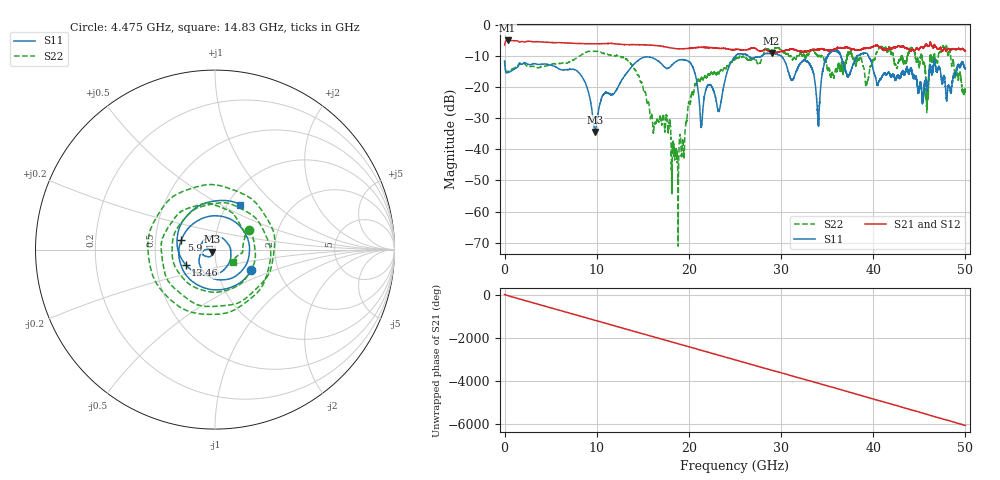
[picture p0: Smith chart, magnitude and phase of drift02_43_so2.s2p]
!Created with skrf (http://scikit-rf.org).
# Hz S RI R 50.0
!freq ReS11 ImS11 ReS21 ImS21 ReS12 ImS12 ReS22 ImS22
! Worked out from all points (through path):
!   10001 points, 300 kHz to 50 GHz, reference 50 ohm
!   highest |S21| = -5.04 dB at 325.3 MHz (marker M1); lowest = -9.0 dB at 28.98 GHz (marker M2)
!   group delay of S21, straight-line fit = 336 ps
!   lowest |S11| = -34.4 dB at 9.845 GHz (marker M3), VSWR 1.04, Z = 48.5 - j1.09 ohm
!   |S11| at or under -10 dB: start of sweep to 25.08 GHz; 29.98 GHz to 35.06 GHz (5.075 GHz wide, 15.6 % of centre); 39.48 GHz to end of sweep (the widest 3 of 11)
!   |S22| runs from -71.1 to -6.6 dB; largest |S21 - S12| = 0.023
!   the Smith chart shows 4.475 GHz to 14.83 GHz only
!   S11 on the Smith chart (normalised r, x): 4.475 GHz: 1.46, -0.35; 5.9 GHz: 0.68, +0.07; 13.46 GHz: 0.71, -0.13; 14.83 GHz: 1.15, +0.63
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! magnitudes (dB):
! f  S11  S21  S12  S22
! 300 kHz  -11.6  -6.5  -6.4  -11.5
! 325.3 MHz  -15.4  -5.0  -5.0  -15.0
! 4.475 GHz  -12.6  -5.6  -5.6  -13.2
! 5.9 GHz  -14.2  -5.7  -5.7  -12.4
! 8.335 GHz  -16.4  -6.0  -6.0  -9.6
! 9.845 GHz  -34.4  -6.1  -6.1  -8.5
! 13.46 GHz  -14.7  -6.4  -6.4  -11.6
! 14.83 GHz  -10.8  -6.4  -6.4  -18.5
! 16.67 GHz  -11.6  -6.7  -6.7  -30.9
! 18.66 GHz  -11.7  -7.7  -7.7  -41.0
! 20.37 GHz  -13.3  -7.5  -7.5  -21.9
! 21.37 GHz  -32.2  -7.2  -7.2  -16.9
! 23.31 GHz  -27.4  -7.5  -7.6  -15.6
! 25 GHz  -10.3  -8.0  -8.0  -11.2
! 28.98 GHz  -9.2  -9.0  -9.0  -8.3
! 33.34 GHz  -13.9  -8.1  -8.1  -8.1
! 34.02 GHz  -31.2  -7.9  -7.9  -10.2
! 35.52 GHz  -8.5  -8.1  -8.1  -15.7
! 41.67 GHz  -15.3  -7.7  -7.8  -7.5
! 45.86 GHz  -20.6  -6.7  -6.7  -20.5
! 47.77 GHz  -17.5  -7.6  -7.6  -7.5
! 50 GHz  -14.1  -8.4  -8.4  -20.1
